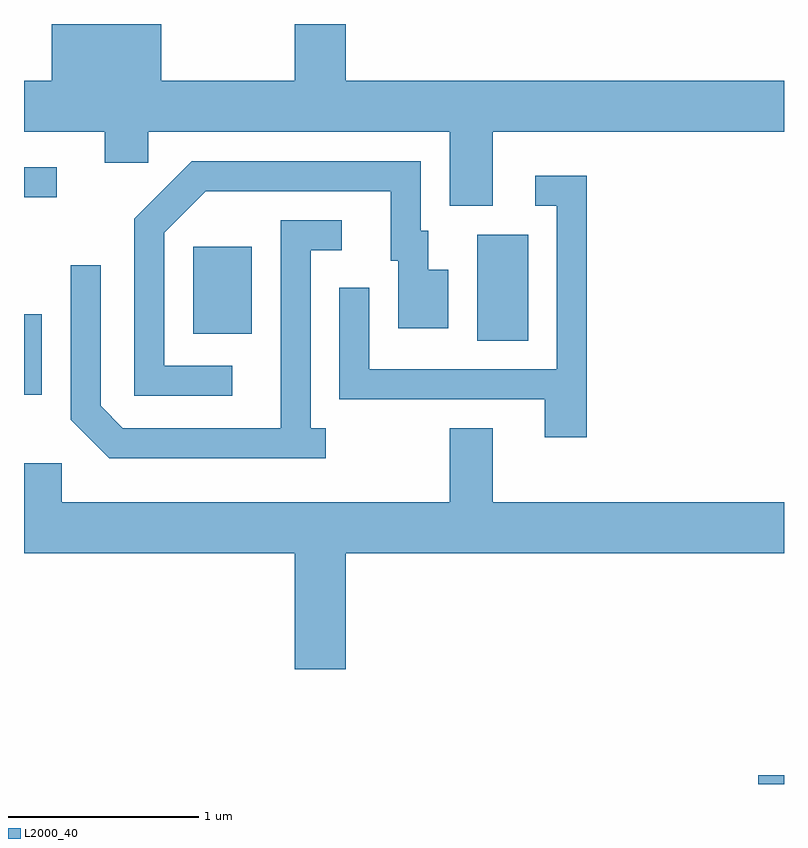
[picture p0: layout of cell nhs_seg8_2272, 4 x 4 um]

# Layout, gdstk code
import gdstk
lib = gdstk.Library(unit=1e-6, precision=1e-09)
def R(c, l, rs):  # rectangles x0, y0, x1, y1
    for r in rs: c.add(gdstk.rectangle(r[:2], r[2:], *l))
def P(c, l, *ps):  # polygons
    for p in ps: c.add(gdstk.Polygon(p, *l))
L2000_40 = (2000, 40)

nhs_seg8_2272 = lib.new_cell('nhs_seg8_2272')
R(nhs_seg8_2272, L2000_40, [(257.476,1806.342,257.611,1806.389), (253.611,1808.391,253.704,1808.814), (255.996,1808.676,256.264,1809.234), (254.501,1808.711,254.809,1809.169), (253.611,1809.431,253.783,1809.589)])
P(nhs_seg8_2272, L2000_40, [(256.079,1809.776),(257.611,1809.776),(257.611,1810.044),(255.304,1810.044),(255.304,1810.342),(255.036,1810.342),(255.036,1810.044),(254.334,1810.044),(254.334,1810.342),(253.756,1810.342),(253.756,1810.044),(253.611,1810.044),(253.611,1809.776),(254.036,1809.776),(254.036,1809.611),(254.264,1809.611),(254.264,1809.776),(255.851,1809.776),(255.851,1809.386),(256.079,1809.386)],
  [(254.708,1808.544),(254.349,1808.544),(254.349,1809.244),(254.567,1809.461),(255.541,1809.461),(255.541,1809.096),(255.581,1809.096),(255.581,1808.741),(255.844,1808.741),(255.844,1809.049),(255.739,1809.049),(255.739,1809.254),(255.699,1809.254),(255.699,1809.619),(254.494,1809.619),(254.191,1809.317),(254.191,1808.386),(254.708,1808.386)],
  [(256.574,1809.544),(256.303,1809.544),(256.303,1809.386),(256.416,1809.386),(256.416,1808.524),(255.429,1808.524),(255.429,1808.953),(255.271,1808.953),(255.271,1808.366),(256.351,1808.366),(256.351,1808.166),(256.574,1808.166)],
  [(255.198,1808.214),(255.119,1808.214),(255.119,1809.151),(255.283,1809.151),(255.283,1809.309),(254.961,1809.309),(254.961,1808.214),(254.132,1808.214),(254.014,1808.332),(254.014,1809.073),(253.856,1809.073),(253.856,1808.259),(254.059,1808.056),(255.198,1808.056)],
  [(255.304,1807.556),(257.611,1807.556),(257.611,1807.824),(256.079,1807.824),(256.079,1808.214),(255.851,1808.214),(255.851,1807.824),(253.809,1807.824),(253.809,1808.029),(253.611,1808.029),(253.611,1807.556),(255.036,1807.556),(255.036,1806.946),(255.304,1806.946)])

lib.write_gds('nhs_seg8_2272.gds')
